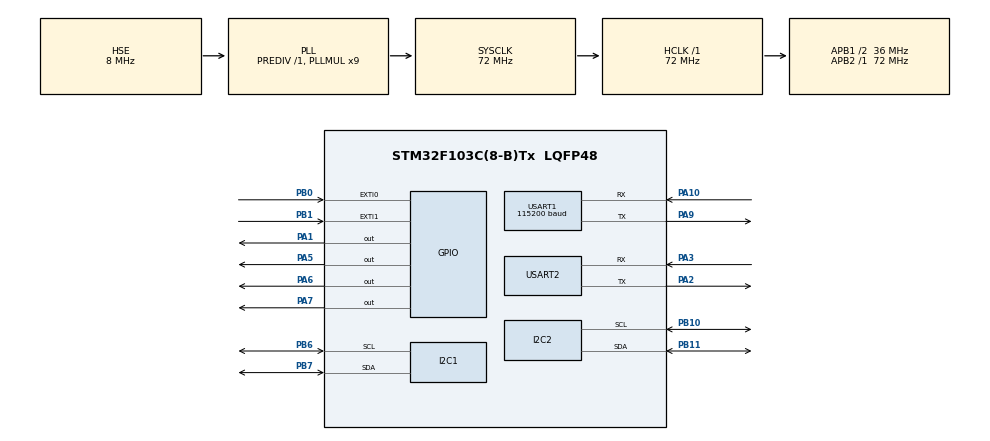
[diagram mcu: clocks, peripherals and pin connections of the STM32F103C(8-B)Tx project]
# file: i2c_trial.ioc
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Mcu.Family=STM32F1
Mcu.Name=STM32F103C(8-B)Tx
Mcu.Package=LQFP48
NVIC.EXTI0_IRQn=true\:0\:0\:false\:false\:true\:true\:true
NVIC.EXTI1_IRQn=true\:1\:0\:true\:false\:true\:true\:true
NVIC.PriorityGroup=NVIC_PRIORITYGROUP_4
NVIC.TIM4_IRQn=true\:0\:0\:false\:false\:true\:true\:true
NVIC.USART1_IRQn=true\:0\:0\:false\:false\:true\:true\:true
NVIC.USART2_IRQn=true\:0\:0\:false\:false\:true\:true\:true
PA1.Signal=GPIO_Output
PA10.Mode=Asynchronous
PA10.Signal=USART1_RX
PA13.Mode=Serial_Wire
PA13.Signal=SYS_JTMS-SWDIO
PA14.Mode=Serial_Wire
PA14.Signal=SYS_JTCK-SWCLK
PA2.Mode=Asynchronous
PA2.Signal=USART2_TX
PA3.Mode=Asynchronous
PA3.Signal=USART2_RX
PA5.Signal=GPIO_Output
PA6.Signal=GPIO_Output
PA7.Signal=GPIO_Output
PA9.Mode=Asynchronous
PA9.Signal=USART1_TX
PB0.GPIO_ModeDefaultEXTI=GPIO_MODE_IT_RISING
PB0.GPIO_PuPd=GPIO_PULLDOWN
PB0.Signal=GPXTI0
PB1.GPIO_ModeDefaultEXTI=GPIO_MODE_IT_RISING
PB1.GPIO_PuPd=GPIO_PULLDOWN
PB1.Signal=GPXTI1
PB10.Mode=I2C
PB10.Signal=I2C2_SCL
PB11.Mode=I2C
PB11.Signal=I2C2_SDA
PB6.Mode=I2C
PB6.Signal=I2C1_SCL
PB7.Mode=I2C
PB7.Signal=I2C1_SDA
PD0-OSC_IN.Mode=HSE-External-Oscillator
PD0-OSC_IN.Signal=RCC_OSC_IN
PD1-OSC_OUT.Mode=HSE-External-Oscillator
PD1-OSC_OUT.Signal=RCC_OSC_OUT
ProjectManager.HeapSize=0x200
ProjectManager.StackSize=0x400
ProjectManager.TargetToolchain=MDK-ARM V5
RCC.AHBFreq_Value=72000000
RCC.APB1CLKDivider=RCC_HCLK_DIV2
RCC.APB1Freq_Value=36000000
RCC.APB1TimFreq_Value=72000000
RCC.APB2Freq_Value=72000000
RCC.APB2TimFreq_Value=72000000
RCC.HCLKFreq_Value=72000000
RCC.PLLMUL=RCC_PLL_MUL9
RCC.PLLSourceVirtual=RCC_PLLSOURCE_HSE
RCC.SYSCLKFreq_VALUE=72000000
RCC.SYSCLKSource=RCC_SYSCLKSOURCE_PLLCLK
RCC.USBFreq_Value=72000000
TIM4.Period=1000
TIM4.Prescaler=35999
USART1.BaudRate=115200
USART1.VirtualMode=VM_ASYNC
USART2.VirtualMode=VM_ASYNC
VP_TIM4_VS_ClockSourceINT.Mode=Internal
board=custom

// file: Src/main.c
/* USER CODE BEGIN Header */
/**
  ******************************************************************************
  * @file           : main.c
  * @brief          : Main program body
  ******************************************************************************
  * @attention
  *
  * <h2><center>&copy; Copyright (c) 2019 STMicroelectronics.
  * All rights reserved.</center></h2>
  *
  * This software component is licensed by ST under BSD 3-Clause license,
  * the "License"; You may not use this file except in compliance with the
  * License. You may obtain a copy of the License at:
  *                        opensource.org/licenses/BSD-3-Clause
  *
  ******************************************************************************
  */
/* USER CODE END Header */

#include "main.h"

/* USER CODE BEGIN Includes */
#include <stdbool.h>
#include <math.h>
#include <stdio.h>
#include <stdlib.h>
#include <string.h>
#include "string.h"
#include "stdio.h"
/* USER CODE END Includes */

/* USER CODE BEGIN PTD */
uint8_t buffer1[8];
uint8_t buffer2[8];
char bt_char[10];
char jet_char[15];
unsigned char rxData[1];
unsigned char rxData_j[1];
uint8_t rx_index=0, rx_index_j=0;
uint8_t hall_counter=0;
bool rwheel_rising = false;
bool lwheel_rising = false;

// DiffDrive Variables
#define minJoystick -50
#define maxJoystick 50
#define minSpeed 45
#define maxSpeed 127
#define MAX(a,b) (((a)>(b))?(a):(b))
#define SR1 70
#define SL1 70

int nMotLeft, nMotRight;
bool toggleDirection = false;
bool brake = false;
char state = 'F';
int yEnd, lEnd;

/* USER CODE END PTD */

I2C_HandleTypeDef hi2c1;
I2C_HandleTypeDef hi2c2;

TIM_HandleTypeDef htim4;

UART_HandleTypeDef huart1;
UART_HandleTypeDef huart2;

/* USER CODE BEGIN PV */
uint8_t c1, c2;
char state;
uint8_t recieveFlag = 0, recieveFlag_jetson=0;
uint8_t doneFlag = 0;
float r_speed, l_speed;
unsigned int rwheel_counter = 0;
unsigned int lwheel_counter = 0;
unsigned char hall_counter_buffer [16];
unsigned int diff;
unsigned int start_of_ride;
TIM_HandleTypeDef* timer_hal = &htim4;
/* USER CODE END PV */

void SystemClock_Config(void);
static void MX_GPIO_Init(void);
static void MX_I2C1_Init(void);
static void MX_I2C2_Init(void);
static void MX_USART1_UART_Init(void);
static void MX_USART2_UART_Init(void);
static void MX_TIM4_Init(void);
/* USER CODE BEGIN PFP */
void HAL_UART_RxCpltCallback(UART_HandleTypeDef *huart);
void HAL_GPIO_EXTI_Callback(uint16_t GPIO_Pin);
/* USER CODE END PFP */

/* USER CODE BEGIN 0 */

unsigned char *dec(unsigned x,  unsigned char *s)
{
    *--s = 0;
    if (!x) *--s = '0';
    for (; x; x/=10) *--s = '0'+x%10;
    return s;
}

void mapRange(int x, int y){

if(x==0&&y==0)
{
nMotRight = 0;
nMotLeft = 0;
return;
}

if (y >= 0 && x >= 0){

if(y >= x) {
toggleDirection = (state == 'B')? true: false;
state = 'F';
nMotLeft = SL1;
nMotRight = SR1;
}
else {
nMotRight = SR1;
nMotLeft = 0;
}
return;
}
if (y <= 0 && x <= 0){

if(x >= y) {
toggleDirection = (state == 'F')? true: false;
state = 'B';
nMotLeft = SL1;
nMotRight = SR1;
}
else {
nMotRight = 0;
nMotLeft = SL1;
}
return;
}

if (y >= 0 && x <= 0){

if(x*-1 > y) {
nMotLeft = SL1;
nMotRight = 0;
}
else {
toggleDirection = (state == 'B')? true: false;
state = 'F';
nMotRight = SR1;
nMotLeft = SL1;
}
return;
}

if (y <= 0 && x >= 0){
//toggleDirection = (state == 'F')? true: false;
//state = 'B';
if(x > y*-1) {
nMotLeft = 0;
nMotRight = SR1;
}
else {
toggleDirection = (state == 'F')? true: false;
 state = 'B';
nMotRight = SR1;
nMotLeft = SL1;
}
return;
}
}
int map(int v)
{
    int joystickRange = (maxJoystick - minJoystick);
    int speedRange = (maxSpeed - minSpeed);

    return  (((v - minJoystick) * speedRange) / joystickRange) + minSpeed;
}

void joystickToDiff(int x, int y){
float rawLeft, rawRight;

if (x == 0 && y == 0){
nMotRight = 0;
nMotLeft = 0;
return;
}
float z = sqrt( x* x + y * y);

float rad = acos(abs(x) / z);

float angle = rad * 180 / 3.14;
float tcoeff = -1 + (angle / 90) * 2;
float turn = tcoeff * abs(abs(y) - abs(x));
turn = round(turn * 100) / 100;
float mov = MAX(abs(y), abs(x));

// First and third quadrant
if ((x >= 0 && y >= 0) || (x < 0 && y < 0)){
rawLeft = mov;
rawRight = turn;
}
else {
rawRight = mov;
rawLeft = turn;
}

// Reverse polarity
if (y < 0){
rawLeft = 0 - rawLeft;
rawRight = 0 - rawRight;
toggleDirection = (state == 'F') ? true: false;
state = 'B';
}
else{
toggleDirection = (state == 'B') ? true: false;
state = 'F';
}
// minJoystick, maxJoystick, minSpeed, maxSpeed
// Map the values onto the defined range
nMotRight = map(rawRight);
nMotLeft = map(rawLeft);
}

void MoveBase(){

HAL_GPIO_WritePin(GPIOA, GPIO_PIN_6, 0);
HAL_GPIO_WritePin(GPIOA, GPIO_PIN_7, 0);
if(toggleDirection){ // Toggle Direction Right: PA1, Left: PA2
// buffer1[1] = 70;
// HAL_I2C_Master_Transmit(&hi2c1,0x90,buffer1,2,100);
//
// buffer2[1] = 70;
// HAL_I2C_Master_Transmit(&hi2c2,0x90,buffer2,2,100);
// HAL_Delay(5000);
HAL_GPIO_WritePin(GPIOA, GPIO_PIN_1, 1);
HAL_GPIO_WritePin(GPIOA, GPIO_PIN_5, 1);
HAL_Delay(500);
HAL_GPIO_WritePin(GPIOA, GPIO_PIN_1, 0);
HAL_GPIO_WritePin(GPIOA, GPIO_PIN_5, 0);
toggleDirection = false;
}
if (brake) { // Brake Right : PA3, Left: PA4
HAL_GPIO_WritePin(GPIOA, GPIO_PIN_6, 1);
HAL_GPIO_WritePin(GPIOA, GPIO_PIN_7, 1);
brake = false;
}

buffer2[1] = nMotRight;
HAL_I2C_Master_Transmit(&hi2c2,0x90,buffer2,2,100);

//HAL_Delay(80);

buffer1[1] = nMotLeft;
HAL_I2C_Master_Transmit(&hi2c1,0x90,buffer1,2,100);

// HAL_Delay(80);
// buffer2[1] = nMotRight;
// HAL_I2C_Master_Transmit(&hi2c2,0x90,buffer2,2,100);
//
}

int extractNumSigned(char bt_char[], int start, int end){
	int num = 0;
	int radixMultiple[] = {1, 10, 100};
	bool isSigned = false;

	if (bt_char[start] == '-'){
			start = start + 1;
			isSigned = true;
	}
	int numDigits = end - start;
	int indx = numDigits - 1;
	for (int i=start; i<end; i++){
		num += (bt_char[i] - '0') * radixMultiple[indx--];
	}
	if(isSigned){
		num*=-1;
	}
	return num;
}

int extractSpeedSigned(char jet_char[], int start, int end){

	bool isSigned = false;
	char sub[5];
	int j=0;

	if (jet_char[start] == '-'){
			start = start + 1;
			isSigned = true;
	}

	for (int i=start; i<end; i++){
		sub[j] = jet_char[i];
	}

	float f2 = strtof(sub, NULL);
	if(isSigned){
		f2*=-1;
	}
	return f2;
}
void readJoyStick(char bt_char[], int * x, int * y){

	int xEnd, xStart = 2;
	int yStart;

	for (int i= xStart; i<11; i++){
		if(bt_char[i] == 'Y')
			xEnd = i;
	}
	yStart = xEnd + 2;

	*x = extractNumSigned(bt_char, xStart, xEnd);
	*y = extractNumSigned(bt_char, yStart, yEnd);

	if(*x== 100 && *y == 100)
		brake = true;
}

void readSpeed(char jet_char[], float * r, float * l){

	int rEnd, rStart = 2;
	int lStart;

	for (int i= rStart; i<15; i++){
		if(jet_char[i] == 'l')
			rEnd = i;
	}
	lStart = rEnd + 2;

	*r = extractSpeedSigned(jet_char, rStart, rEnd);
	*l = extractSpeedSigned(jet_char, lStart, lEnd);

}

bool checkData(char bt_char[]){
bool foundX = (bt_char[0] == 'X');
bool foundEnd = false;
for (int i =0; i<11; i++ ){
if(bt_char[i] == 'Y')
foundEnd = true;
}
return (foundX && foundEnd);
}

void HAL_UART_RxCpltCallback(UART_HandleTypeDef *huart)
{
	if(huart ->Instance == USART2)
	{
		if (rxData[0]==';')
		{
			yEnd = rx_index;
			rx_index=0;
			recieveFlag=1;
		}
		else if (rxData[0] == '\n' || rxData[0] == '\r'){}
		else
		{
			bt_char[rx_index++]=rxData[0];
		}
		HAL_UART_Receive_IT(&huart2,rxData,1);
	}

	if(huart ->Instance == USART1)
	{
		if (rxData_j[0]==';')
		{
			lEnd = rx_index_j;
			rx_index_j=0;
			recieveFlag_jetson=1;
		}
		else if (rxData_j[0] == '\n' || rxData_j[0] == '\r'){}
		else
		{
			jet_char[rx_index_j++]=rxData_j[0];
		}
		HAL_UART_Receive_IT(&huart1,rxData_j,1);
	}
}

void HAL_GPIO_EXTI_Callback(uint16_t GPIO_Pin)
{
   if (GPIO_Pin==GPIO_PIN_1) //x:0-15
   {
			if (HAL_GPIO_ReadPin(GPIOB,GPIO_PIN_1) == 1)
			{
				diff = __HAL_TIM_GET_COUNTER(timer_hal);

				if(diff > 100)  // else, just discard it
				{
					rwheel_counter +=1;
					__HAL_TIM_SET_COUNTER(&htim4, 0);
					sprintf(hall_counter_buffer,"r%dl%d;",rwheel_counter, lwheel_counter);
					//HAL_UART_Transmit_IT(&huart1, hall_counter_buffer,  16);
					//last_reading_time = __HAL_TIM_GET_COUNTER(&htim4);
				}
			}
		}

		if (GPIO_Pin==GPIO_PIN_0) //x:0-15
		{
				if (HAL_GPIO_ReadPin(GPIOB,GPIO_PIN_0) == 1)
				{
					diff = __HAL_TIM_GET_COUNTER(timer_hal);

					if(diff > 100)  // else, just discard it
					{
						lwheel_counter +=1;
						__HAL_TIM_SET_COUNTER(&htim4, 0);
						sprintf(hall_counter_buffer,"r%dl%d;",rwheel_counter, lwheel_counter);
						//HAL_UART_Transmit_IT(&huart1, hall_counter_buffer,  16);
						//last_reading_time = __HAL_TIM_GET_COUNTER(&htim4);
					}
				}
		 }

}
void HAL_TIM_PeriodElapsedCallback(TIM_HandleTypeDef *htim)
{
  /* USER CODE BEGIN Callback 0 */

  /* USER CODE BEGIN Callback 1 */

  if (htim->Instance == timer_hal->Instance) {
		start_of_ride = 1;
		HAL_UART_Transmit_IT(&huart1, hall_counter_buffer,  16);
  }

  /* USER CODE END Callback 1 */
}
/* USER CODE END 0 */

int main(void)
{

  /* MCU Configuration--------------------------------------------------------*/

  /* Reset of all peripherals, Initializes the Flash interface and the Systick. */
  HAL_Init();

  /* Configure the system clock */
  SystemClock_Config();

  /* Initialize all configured peripherals */
  MX_GPIO_Init();
  MX_I2C1_Init();
  MX_I2C2_Init();
  MX_USART1_UART_Init();
  MX_USART2_UART_Init();
  MX_TIM4_Init();
  /* USER CODE BEGIN 2 */
	// HAL_Delay(15);
	// buffer[0]=0xFF; //Pointer buffer
	// buffer[1]=100;
	// HAL_I2C_Master_Transmit(&hi2c1,0x90,buffer,2,100);
		/* USER CODE END 2 */

		/* Infinite loop */
		/* USER CODE BEGIN WHILE */
	state = 'F';
	buffer1[0]=0xFF;
	buffer1[1]=80;
	buffer2[0]=0xFF;
	buffer2[1]=80;
	//HAL_I2C_Master_Transmit(&hi2c1,0x90,buffer1,2,100);
	//HAL_I2C_Master_Transmit(&hi2c2,0x90,buffer2,2,100);
	int x,y;
	HAL_TIM_Base_Start_IT(timer_hal);
	HAL_UART_Receive_IT(&huart1,rxData_j,1);
	HAL_UART_Receive_IT(&huart2,rxData,1);

  while (1)
  {
		if (recieveFlag)
		{
			//HAL_UART_Receive(&huart2, (uint8_t *)&bt_char,11, 100);
			if(checkData(bt_char)){
				// HAL_UART_Transmit(&huart1, (uint8_t *)&bt_char,11,1);
				 HAL_Delay(100);
				readJoyStick(bt_char,&x, &y);
				mapRange(x,y);
				// joystickToDiff(x, y);
				MoveBase();
				// HAL_Delay(400);
			}
			recieveFlag=0;
		}

		if (recieveFlag_jetson)
		{

				HAL_Delay(100);
				readSpeed(jet_char,&r_speed, &l_speed);
				mapRange(r_speed,l_speed);
				MoveBase();

			recieveFlag_jetson=0;
		}
		// bt_char[0]= '\0';
				/* USER CODE END WHILE */

	}
}

void SystemClock_Config(void)
{
  RCC_OscInitTypeDef RCC_OscInitStruct = {0};
  RCC_ClkInitTypeDef RCC_ClkInitStruct = {0};

  /** Initializes the CPU, AHB and APB busses clocks
  */
  RCC_OscInitStruct.OscillatorType = RCC_OSCILLATORTYPE_HSE;
  RCC_OscInitStruct.HSEState = RCC_HSE_ON;
  RCC_OscInitStruct.HSEPredivValue = RCC_HSE_PREDIV_DIV1;
  RCC_OscInitStruct.HSIState = RCC_HSI_ON;
  RCC_OscInitStruct.PLL.PLLState = RCC_PLL_ON;
  RCC_OscInitStruct.PLL.PLLSource = RCC_PLLSOURCE_HSE;
  RCC_OscInitStruct.PLL.PLLMUL = RCC_PLL_MUL9;
  if (HAL_RCC_OscConfig(&RCC_OscInitStruct) != HAL_OK)
  {
    Error_Handler();
  }
  /** Initializes the CPU, AHB and APB busses clocks
  */
  RCC_ClkInitStruct.ClockType = RCC_CLOCKTYPE_HCLK|RCC_CLOCKTYPE_SYSCLK
                              |RCC_CLOCKTYPE_PCLK1|RCC_CLOCKTYPE_PCLK2;
  RCC_ClkInitStruct.SYSCLKSource = RCC_SYSCLKSOURCE_PLLCLK;
  RCC_ClkInitStruct.AHBCLKDivider = RCC_SYSCLK_DIV1;
  RCC_ClkInitStruct.APB1CLKDivider = RCC_HCLK_DIV2;
  RCC_ClkInitStruct.APB2CLKDivider = RCC_HCLK_DIV1;

  if (HAL_RCC_ClockConfig(&RCC_ClkInitStruct, FLASH_LATENCY_2) != HAL_OK)
  {
    Error_Handler();
  }
}

static void MX_I2C1_Init(void)
{

  hi2c1.Instance = I2C1;
  hi2c1.Init.ClockSpeed = 100000;
  hi2c1.Init.DutyCycle = I2C_DUTYCYCLE_2;
  hi2c1.Init.OwnAddress1 = 0;
  hi2c1.Init.AddressingMode = I2C_ADDRESSINGMODE_7BIT;
  hi2c1.Init.DualAddressMode = I2C_DUALADDRESS_DISABLE;
  hi2c1.Init.OwnAddress2 = 0;
  hi2c1.Init.GeneralCallMode = I2C_GENERALCALL_DISABLE;
  hi2c1.Init.NoStretchMode = I2C_NOSTRETCH_DISABLE;
  if (HAL_I2C_Init(&hi2c1) != HAL_OK)
  {
    Error_Handler();
  }

}

static void MX_I2C2_Init(void)
{

  hi2c2.Instance = I2C2;
  hi2c2.Init.ClockSpeed = 100000;
  hi2c2.Init.DutyCycle = I2C_DUTYCYCLE_2;
  hi2c2.Init.OwnAddress1 = 0;
  hi2c2.Init.AddressingMode = I2C_ADDRESSINGMODE_7BIT;
  hi2c2.Init.DualAddressMode = I2C_DUALADDRESS_DISABLE;
  hi2c2.Init.OwnAddress2 = 0;
  hi2c2.Init.GeneralCallMode = I2C_GENERALCALL_DISABLE;
  hi2c2.Init.NoStretchMode = I2C_NOSTRETCH_DISABLE;
  if (HAL_I2C_Init(&hi2c2) != HAL_OK)
  {
    Error_Handler();
  }

}

static void MX_TIM4_Init(void)
{

  TIM_ClockConfigTypeDef sClockSourceConfig = {0};
  TIM_MasterConfigTypeDef sMasterConfig = {0};

  htim4.Instance = TIM4;
  htim4.Init.Prescaler = 35999;
  htim4.Init.CounterMode = TIM_COUNTERMODE_UP;
  htim4.Init.Period = 1000;
  htim4.Init.ClockDivision = TIM_CLOCKDIVISION_DIV1;
  htim4.Init.AutoReloadPreload = TIM_AUTORELOAD_PRELOAD_DISABLE;
  if (HAL_TIM_Base_Init(&htim4) != HAL_OK)
  {
    Error_Handler();
  }
  sClockSourceConfig.ClockSource = TIM_CLOCKSOURCE_INTERNAL;
  if (HAL_TIM_ConfigClockSource(&htim4, &sClockSourceConfig) != HAL_OK)
  {
    Error_Handler();
  }
  sMasterConfig.MasterOutputTrigger = TIM_TRGO_RESET;
  sMasterConfig.MasterSlaveMode = TIM_MASTERSLAVEMODE_DISABLE;
  if (HAL_TIMEx_MasterConfigSynchronization(&htim4, &sMasterConfig) != HAL_OK)
  {
    Error_Handler();
  }

}

static void MX_USART1_UART_Init(void)
{

  huart1.Instance = USART1;
  huart1.Init.BaudRate = 115200;
  huart1.Init.WordLength = UART_WORDLENGTH_8B;
  huart1.Init.StopBits = UART_STOPBITS_1;
  huart1.Init.Parity = UART_PARITY_NONE;
  huart1.Init.Mode = UART_MODE_TX_RX;
  huart1.Init.HwFlowCtl = UART_HWCONTROL_NONE;
  huart1.Init.OverSampling = UART_OVERSAMPLING_16;
  if (HAL_UART_Init(&huart1) != HAL_OK)
  {
    Error_Handler();
  }

}

static void MX_USART2_UART_Init(void)
{

  huart2.Instance = USART2;
  huart2.Init.BaudRate = 115200;
  huart2.Init.WordLength = UART_WORDLENGTH_8B;
  huart2.Init.StopBits = UART_STOPBITS_1;
  huart2.Init.Parity = UART_PARITY_NONE;
  huart2.Init.Mode = UART_MODE_TX_RX;
  huart2.Init.HwFlowCtl = UART_HWCONTROL_NONE;
  huart2.Init.OverSampling = UART_OVERSAMPLING_16;
  if (HAL_UART_Init(&huart2) != HAL_OK)
  {
    Error_Handler();
  }

}

static void MX_GPIO_Init(void)
{
  GPIO_InitTypeDef GPIO_InitStruct = {0};

  /* GPIO Ports Clock Enable */
  __HAL_RCC_GPIOD_CLK_ENABLE();
  __HAL_RCC_GPIOA_CLK_ENABLE();
  __HAL_RCC_GPIOB_CLK_ENABLE();

  /*Configure GPIO pin Output Level */
  HAL_GPIO_WritePin(GPIOA, GPIO_PIN_1|GPIO_PIN_5|GPIO_PIN_6|GPIO_PIN_7, GPIO_PIN_RESET);

  /*Configure GPIO pins : PA1 PA5 PA6 PA7 */
  GPIO_InitStruct.Pin = GPIO_PIN_1|GPIO_PIN_5|GPIO_PIN_6|GPIO_PIN_7;
  GPIO_InitStruct.Mode = GPIO_MODE_OUTPUT_PP;
  GPIO_InitStruct.Pull = GPIO_NOPULL;
  GPIO_InitStruct.Speed = GPIO_SPEED_FREQ_LOW;
  HAL_GPIO_Init(GPIOA, &GPIO_InitStruct);

  /*Configure GPIO pins : PB0 PB1 */
  GPIO_InitStruct.Pin = GPIO_PIN_0|GPIO_PIN_1;
  GPIO_InitStruct.Mode = GPIO_MODE_IT_RISING;
  GPIO_InitStruct.Pull = GPIO_NOPULL;
  HAL_GPIO_Init(GPIOB, &GPIO_InitStruct);

  /* EXTI interrupt init*/
  HAL_NVIC_SetPriority(EXTI0_IRQn, 0, 0);
  HAL_NVIC_EnableIRQ(EXTI0_IRQn);

  HAL_NVIC_SetPriority(EXTI1_IRQn, 0, 0);
  HAL_NVIC_EnableIRQ(EXTI1_IRQn);

}

void Error_Handler(void)
{
}

/************************ (C) COPYRIGHT STMicroelectronics *****END OF FILE****/
